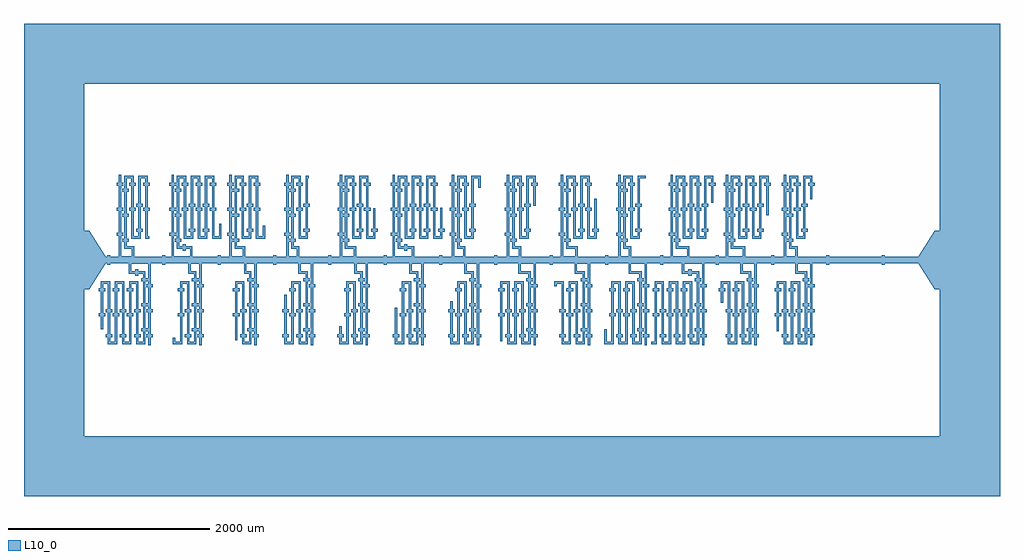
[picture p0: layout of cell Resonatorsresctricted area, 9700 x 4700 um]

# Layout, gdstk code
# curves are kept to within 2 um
import gdstk
lib = gdstk.Library(unit=1e-6, precision=1e-09)
def R(c, l, rs):  # rectangles x0, y0, x1, y1
    for r in rs: c.add(gdstk.rectangle(r[:2], r[2:], *l))
def A(c, l, x, y, w, h, nx, ny, dx, dy):  # array of equal rectangles
    R(c, l, [(x+i*dx, y+j*dy, x+i*dx+w, y+j*dy+h) for i in range(nx) for j in range(ny)])
def P(c, l, *ps):  # polygons
    for p in ps: c.add(gdstk.Polygon(p, *l))
L10_0 = (10, 0)

resonatorsresctricted_ar = lib.new_cell('Resonatorsresctricted area')
A(resonatorsresctricted_ar, L10_0, 1215.263, 1580, 20, 30, 1, 3, 0, 250)
A(resonatorsresctricted_ar, L10_0, 1260.263, 1580, 20, 30, 1, 3, 0, 250)
A(resonatorsresctricted_ar, L10_0, 1721.618, 1580, 20, 30, 1, 3, 0, 250)
A(resonatorsresctricted_ar, L10_0, 1766.618, 1580, 20, 30, 1, 3, 0, 250)
A(resonatorsresctricted_ar, L10_0, 2268.867, 1580, 20, 30, 1, 3, 0, 250)
A(resonatorsresctricted_ar, L10_0, 2313.867, 1580, 20, 30, 1, 3, 0, 250)
A(resonatorsresctricted_ar, L10_0, 2829.35, 1580, 20, 30, 1, 3, 0, 250)
A(resonatorsresctricted_ar, L10_0, 2874.35, 1580, 20, 30, 1, 3, 0, 250)
A(resonatorsresctricted_ar, L10_0, 3373.623, 1580, 20, 30, 1, 3, 0, 250)
A(resonatorsresctricted_ar, L10_0, 3418.623, 1580, 20, 30, 1, 3, 0, 250)
A(resonatorsresctricted_ar, L10_0, 3926.925, 1580, 20, 30, 1, 3, 0, 250)
A(resonatorsresctricted_ar, L10_0, 3971.925, 1580, 20, 30, 1, 3, 0, 250)
A(resonatorsresctricted_ar, L10_0, 4478.113, 1580, 20, 30, 1, 3, 0, 250)
A(resonatorsresctricted_ar, L10_0, 4523.113, 1580, 20, 30, 1, 3, 0, 250)
A(resonatorsresctricted_ar, L10_0, 5043.266, 1580, 20, 30, 1, 3, 0, 250)
A(resonatorsresctricted_ar, L10_0, 5088.266, 1580, 20, 30, 1, 3, 0, 250)
A(resonatorsresctricted_ar, L10_0, 5583.383, 1580, 20, 30, 1, 3, 0, 250)
A(resonatorsresctricted_ar, L10_0, 5628.383, 1580, 20, 30, 1, 3, 0, 250)
A(resonatorsresctricted_ar, L10_0, 6147.254, 1580, 20, 30, 1, 3, 0, 250)
A(resonatorsresctricted_ar, L10_0, 6192.254, 1580, 20, 30, 1, 3, 0, 250)
A(resonatorsresctricted_ar, L10_0, 6718.521, 1580, 20, 30, 1, 3, 0, 250)
A(resonatorsresctricted_ar, L10_0, 6763.521, 1580, 20, 30, 1, 3, 0, 250)
A(resonatorsresctricted_ar, L10_0, 7236.379, 1580, 20, 30, 1, 3, 0, 250)
A(resonatorsresctricted_ar, L10_0, 7281.379, 1580, 20, 30, 1, 3, 0, 250)
A(resonatorsresctricted_ar, L10_0, 7791.418, 1580, 20, 30, 1, 3, 0, 250)
A(resonatorsresctricted_ar, L10_0, 7836.418, 1580, 20, 30, 1, 3, 0, 250)
A(resonatorsresctricted_ar, L10_0, 1163.263, 1640, 20, 30, 1, 3, 0, 250)
A(resonatorsresctricted_ar, L10_0, 1208.263, 1640, 20, 30, 1, 3, 0, 250)
A(resonatorsresctricted_ar, L10_0, 1669.619, 1640, 20, 30, 1, 3, 0, 250)
A(resonatorsresctricted_ar, L10_0, 1714.619, 1640, 20, 30, 1, 3, 0, 250)
A(resonatorsresctricted_ar, L10_0, 2216.867, 1640, 20, 30, 1, 3, 0, 250)
A(resonatorsresctricted_ar, L10_0, 2261.867, 1640, 20, 30, 1, 3, 0, 250)
A(resonatorsresctricted_ar, L10_0, 2777.35, 1640, 20, 30, 1, 3, 0, 250)
A(resonatorsresctricted_ar, L10_0, 2822.35, 1640, 20, 30, 1, 3, 0, 250)
A(resonatorsresctricted_ar, L10_0, 3321.623, 1640, 20, 30, 1, 3, 0, 250)
A(resonatorsresctricted_ar, L10_0, 3366.623, 1640, 20, 30, 1, 3, 0, 250)
A(resonatorsresctricted_ar, L10_0, 3874.924, 1640, 20, 30, 1, 3, 0, 250)
A(resonatorsresctricted_ar, L10_0, 3919.924, 1640, 20, 30, 1, 3, 0, 250)
A(resonatorsresctricted_ar, L10_0, 4426.113, 1640, 20, 30, 1, 3, 0, 250)
A(resonatorsresctricted_ar, L10_0, 4471.113, 1640, 20, 30, 1, 3, 0, 250)
A(resonatorsresctricted_ar, L10_0, 4991.266, 1640, 20, 30, 1, 3, 0, 250)
A(resonatorsresctricted_ar, L10_0, 5036.266, 1640, 20, 30, 1, 3, 0, 250)
A(resonatorsresctricted_ar, L10_0, 5531.384, 1640, 20, 30, 1, 3, 0, 250)
A(resonatorsresctricted_ar, L10_0, 5576.384, 1640, 20, 30, 1, 3, 0, 250)
A(resonatorsresctricted_ar, L10_0, 6095.254, 1640, 20, 30, 1, 3, 0, 250)
A(resonatorsresctricted_ar, L10_0, 6140.254, 1640, 20, 30, 1, 3, 0, 250)
A(resonatorsresctricted_ar, L10_0, 6666.522, 1640, 20, 30, 1, 3, 0, 250)
A(resonatorsresctricted_ar, L10_0, 6711.522, 1640, 20, 30, 1, 3, 0, 250)
A(resonatorsresctricted_ar, L10_0, 7184.378, 1640, 20, 30, 1, 3, 0, 250)
A(resonatorsresctricted_ar, L10_0, 7229.378, 1640, 20, 30, 1, 3, 0, 250)
A(resonatorsresctricted_ar, L10_0, 7739.418, 1640, 20, 30, 1, 3, 0, 250)
A(resonatorsresctricted_ar, L10_0, 7784.418, 1640, 20, 30, 1, 3, 0, 250)
A(resonatorsresctricted_ar, L10_0, 825, 2305, 30, 30, 15, 2, 550, 60)
A(resonatorsresctricted_ar, L10_0, 975.018, 2530, 20, 30, 1, 3, 0, 250)
A(resonatorsresctricted_ar, L10_0, 1020.018, 2530, 20, 30, 1, 3, 0, 250)
A(resonatorsresctricted_ar, L10_0, 1497.662, 2530, 20, 30, 1, 3, 0, 250)
A(resonatorsresctricted_ar, L10_0, 1542.662, 2530, 20, 30, 1, 3, 0, 250)
A(resonatorsresctricted_ar, L10_0, 2072.152, 2530, 20, 30, 1, 3, 0, 250)
A(resonatorsresctricted_ar, L10_0, 2117.152, 2530, 20, 30, 1, 3, 0, 250)
A(resonatorsresctricted_ar, L10_0, 2637.247, 2530, 20, 30, 1, 3, 0, 250)
A(resonatorsresctricted_ar, L10_0, 2682.247, 2530, 20, 30, 1, 3, 0, 250)
A(resonatorsresctricted_ar, L10_0, 3169.02, 2530, 20, 30, 1, 3, 0, 250)
A(resonatorsresctricted_ar, L10_0, 3214.02, 2530, 20, 30, 1, 3, 0, 250)
A(resonatorsresctricted_ar, L10_0, 3694.792, 2530, 20, 30, 1, 3, 0, 250)
A(resonatorsresctricted_ar, L10_0, 3739.792, 2530, 20, 30, 1, 3, 0, 250)
A(resonatorsresctricted_ar, L10_0, 4284.397, 2530, 20, 30, 1, 3, 0, 250)
A(resonatorsresctricted_ar, L10_0, 4329.397, 2530, 20, 30, 1, 3, 0, 250)
A(resonatorsresctricted_ar, L10_0, 4831.218, 2530, 20, 30, 1, 3, 0, 250)
A(resonatorsresctricted_ar, L10_0, 4876.218, 2530, 20, 30, 1, 3, 0, 250)
A(resonatorsresctricted_ar, L10_0, 5367.342, 2530, 20, 30, 1, 3, 0, 250)
A(resonatorsresctricted_ar, L10_0, 5412.342, 2530, 20, 30, 1, 3, 0, 250)
A(resonatorsresctricted_ar, L10_0, 5936.331, 2530, 20, 30, 1, 3, 0, 250)
A(resonatorsresctricted_ar, L10_0, 5981.331, 2530, 20, 30, 1, 3, 0, 250)
A(resonatorsresctricted_ar, L10_0, 6457.591, 2530, 20, 30, 1, 3, 0, 250)
A(resonatorsresctricted_ar, L10_0, 6502.591, 2530, 20, 30, 1, 3, 0, 250)
A(resonatorsresctricted_ar, L10_0, 7005.315, 2530, 20, 30, 1, 3, 0, 250)
A(resonatorsresctricted_ar, L10_0, 7050.315, 2530, 20, 30, 1, 3, 0, 250)
A(resonatorsresctricted_ar, L10_0, 7582.318, 2530, 20, 30, 1, 3, 0, 250)
A(resonatorsresctricted_ar, L10_0, 7627.318, 2530, 20, 30, 1, 3, 0, 250)
A(resonatorsresctricted_ar, L10_0, 923.018, 2590, 20, 30, 1, 3, 0, 250)
A(resonatorsresctricted_ar, L10_0, 968.018, 2590, 20, 30, 1, 3, 0, 250)
A(resonatorsresctricted_ar, L10_0, 1445.663, 2590, 20, 30, 1, 3, 0, 250)
A(resonatorsresctricted_ar, L10_0, 1490.663, 2590, 20, 30, 1, 3, 0, 250)
A(resonatorsresctricted_ar, L10_0, 2020.153, 2590, 20, 30, 1, 3, 0, 250)
A(resonatorsresctricted_ar, L10_0, 2065.153, 2590, 20, 30, 1, 3, 0, 250)
A(resonatorsresctricted_ar, L10_0, 2585.248, 2590, 20, 30, 1, 3, 0, 250)
A(resonatorsresctricted_ar, L10_0, 2630.248, 2590, 20, 30, 1, 3, 0, 250)
A(resonatorsresctricted_ar, L10_0, 3117.02, 2590, 20, 30, 1, 3, 0, 250)
A(resonatorsresctricted_ar, L10_0, 3162.02, 2590, 20, 30, 1, 3, 0, 250)
A(resonatorsresctricted_ar, L10_0, 3642.793, 2590, 20, 30, 1, 3, 0, 250)
A(resonatorsresctricted_ar, L10_0, 3687.793, 2590, 20, 30, 1, 3, 0, 250)
A(resonatorsresctricted_ar, L10_0, 4232.398, 2590, 20, 30, 1, 3, 0, 250)
A(resonatorsresctricted_ar, L10_0, 4277.398, 2590, 20, 30, 1, 3, 0, 250)
A(resonatorsresctricted_ar, L10_0, 4779.219, 2590, 20, 30, 1, 3, 0, 250)
A(resonatorsresctricted_ar, L10_0, 4824.219, 2590, 20, 30, 1, 3, 0, 250)
A(resonatorsresctricted_ar, L10_0, 5315.342, 2590, 20, 30, 1, 3, 0, 250)
A(resonatorsresctricted_ar, L10_0, 5360.342, 2590, 20, 30, 1, 3, 0, 250)
A(resonatorsresctricted_ar, L10_0, 5884.331, 2590, 20, 30, 1, 3, 0, 250)
A(resonatorsresctricted_ar, L10_0, 5929.331, 2590, 20, 30, 1, 3, 0, 250)
A(resonatorsresctricted_ar, L10_0, 6405.59, 2590, 20, 30, 1, 3, 0, 250)
A(resonatorsresctricted_ar, L10_0, 6450.59, 2590, 20, 30, 1, 3, 0, 250)
A(resonatorsresctricted_ar, L10_0, 6953.316, 2590, 20, 30, 1, 3, 0, 250)
A(resonatorsresctricted_ar, L10_0, 6998.316, 2590, 20, 30, 1, 3, 0, 250)
A(resonatorsresctricted_ar, L10_0, 7530.318, 2590, 20, 30, 1, 3, 0, 250)
A(resonatorsresctricted_ar, L10_0, 7575.318, 2590, 20, 30, 1, 3, 0, 250)
R(resonatorsresctricted_ar, L10_0, [(1236.263,1501,1259.263,1525), (1742.619,1501,1765.619,1525), (2289.867,1501,2312.867,1525), (2850.35,1501,2873.35,1525), (3394.623,1501,3417.623,1525), (3947.924,1501,3970.924,1525), (4499.113,1501,4522.113,1525), (5064.266,1501,5087.266,1525), (5604.384,1501,5627.384,1525), (6168.254,1501,6191.254,1525), (6739.522,1501,6762.522,1525), (7257.378,1501,7280.378,1525), (7812.418,1501,7835.418,1525), (813.263,1580,833.263,1610), (858.263,1580,878.263,1610), (953.263,1580,973.263,1610), (998.263,1580,1018.263,1610), (1093.263,1580,1113.263,1610), (1138.263,1580,1158.263,1610), (1599.618,1580,1619.618,1610), (1644.618,1580,1664.618,1610), (2146.867,1580,2166.867,1610), (2191.867,1580,2211.867,1610), (2567.35,1580,2587.35,1610), (2612.35,1580,2632.35,1610), (2707.35,1580,2727.35,1610), (2752.35,1580,2772.35,1610), (3111.623,1580,3131.623,1610), (3156.623,1580,3176.623,1610), (3251.623,1580,3271.623,1610), (3296.623,1580,3316.623,1610), (3664.925,1580,3684.925,1610), (3709.925,1580,3729.925,1610), (3804.925,1580,3824.925,1610), (3849.925,1580,3869.925,1610), (4216.113,1580,4236.113,1610), (4261.113,1580,4281.113,1610), (4356.113,1580,4376.113,1610), (4401.113,1580,4421.113,1610), (4781.266,1580,4801.266,1610), (4826.266,1580,4846.266,1610), (4921.266,1580,4941.266,1610), (4966.266,1580,4986.266,1610), (5321.383,1580,5341.383,1610), (5366.383,1580,5386.383,1610), (5461.383,1580,5481.383,1610), (5506.383,1580,5526.383,1610), (5885.254,1580,5905.254,1610), (5930.254,1580,5950.254,1610), (6025.254,1580,6045.254,1610), (6070.254,1580,6090.254,1610), (6316.521,1580,6336.521,1610), (6361.521,1580,6381.521,1610), (6456.521,1580,6476.521,1610), (6501.521,1580,6521.521,1610), (6596.521,1580,6616.521,1610), (6641.521,1580,6661.521,1610), (6974.379,1580,6994.379,1610), (7019.379,1580,7039.379,1610), (7114.379,1580,7134.379,1610), (7159.379,1580,7179.379,1610), (7529.418,1580,7549.418,1610), (7574.418,1580,7594.418,1610), (7669.418,1580,7689.418,1610), (7714.418,1580,7734.418,1610), (743.263,1790,763.263,1820), (788.263,1790,808.263,1820), (883.263,1790,903.263,1820), (928.263,1790,948.263,1820), (1023.263,1790,1043.263,1820), (1068.263,1790,1088.263,1820), (1529.619,1790,1549.619,1820), (1574.619,1790,1594.619,1820), (2076.867,1790,2096.867,1820), (2121.867,1790,2141.867,1820), (2637.35,1790,2657.35,1820), (2682.35,1790,2702.35,1820), (3181.623,1790,3201.623,1820), (3226.623,1790,3246.623,1820), (3734.924,1790,3754.924,1820), (3779.924,1790,3799.924,1820), (4286.113,1790,4306.113,1820), (4331.113,1790,4351.113,1820), (4711.266,1790,4731.266,1820), (4756.266,1790,4776.266,1820), (4851.266,1790,4871.266,1820), (4896.266,1790,4916.266,1820), (5391.384,1790,5411.384,1820), (5436.384,1790,5456.384,1820), (5815.254,1790,5835.254,1820), (5860.254,1790,5880.254,1820), (5955.254,1790,5975.254,1820), (6000.254,1790,6020.254,1820), (6246.522,1790,6266.522,1820), (6291.522,1790,6311.522,1820), (6386.522,1790,6406.522,1820), (6431.522,1790,6451.522,1820), (6526.522,1790,6546.522,1820), (6571.522,1790,6591.522,1820), (7044.378,1790,7064.378,1820), (7089.378,1790,7109.378,1820), (7459.418,1790,7479.418,1820), (7504.418,1790,7524.418,1820), (7599.418,1790,7619.418,1820), (7644.418,1790,7664.418,1820), (813.263,1830,833.263,1860), (858.263,1830,878.263,1860), (953.263,1830,973.263,1860), (998.263,1830,1018.263,1860), (1093.263,1830,1113.263,1860), (1138.263,1830,1158.263,1860), (1599.618,1830,1619.618,1860), (1644.618,1830,1664.618,1860), (2146.867,1830,2166.867,1860), (2191.867,1830,2211.867,1860), (2567.35,1830,2587.35,1860), (2612.35,1830,2632.35,1860), (2707.35,1830,2727.35,1860), (2752.35,1830,2772.35,1860), (3251.623,1830,3271.623,1860), (3296.623,1830,3316.623,1860), (3804.925,1830,3824.925,1860), (3849.925,1830,3869.925,1860), (4216.113,1830,4236.113,1860), (4261.113,1830,4281.113,1860), (4356.113,1830,4376.113,1860), (4401.113,1830,4421.113,1860), (4781.266,1830,4801.266,1860), (4826.266,1830,4846.266,1860), (4921.266,1830,4941.266,1860), (4966.266,1830,4986.266,1860), (5321.383,1830,5341.383,1860), (5366.383,1830,5386.383,1860), (5461.383,1830,5481.383,1860), (5506.383,1830,5526.383,1860), (5885.254,1830,5905.254,1860), (5930.254,1830,5950.254,1860), (6025.254,1830,6045.254,1860), (6070.254,1830,6090.254,1860), (6316.521,1830,6336.521,1860), (6361.521,1830,6381.521,1860), (6456.521,1830,6476.521,1860), (6501.521,1830,6521.521,1860), (6596.521,1830,6616.521,1860), (6641.521,1830,6661.521,1860), (6974.379,1830,6994.379,1860), (7019.379,1830,7039.379,1860), (7114.379,1830,7134.379,1860), (7159.379,1830,7179.379,1860), (7529.418,1830,7549.418,1860), (7574.418,1830,7594.418,1860), (7669.418,1830,7689.418,1860), (7714.418,1830,7734.418,1860), (743.263,2040,763.263,2070), (788.263,2040,808.263,2070), (883.263,2040,903.263,2070), (928.263,2040,948.263,2070), (1023.263,2040,1043.263,2070), (1068.263,2040,1088.263,2070), (1529.619,2040,1549.619,2070), (1574.619,2040,1594.619,2070), (2076.867,2040,2096.867,2070), (2121.867,2040,2141.867,2070), (2637.35,2040,2657.35,2070), (2682.35,2040,2702.35,2070), (3181.623,2040,3201.623,2070), (3226.623,2040,3246.623,2070), (3734.924,2040,3754.924,2070), (3779.924,2040,3799.924,2070), (4286.113,2040,4306.113,2070), (4331.113,2040,4351.113,2070), (4711.266,2040,4731.266,2070), (4756.266,2040,4776.266,2070), (4851.266,2040,4871.266,2070), (4896.266,2040,4916.266,2070), (5391.384,2040,5411.384,2070), (5436.384,2040,5456.384,2070), (5815.254,2040,5835.254,2070), (5860.254,2040,5880.254,2070), (5955.254,2040,5975.254,2070), (6000.254,2040,6020.254,2070), (6246.522,2040,6266.522,2070), (6291.522,2040,6311.522,2070), (6386.522,2040,6406.522,2070), (6431.522,2040,6451.522,2070), (6526.522,2040,6546.522,2070), (6571.522,2040,6591.522,2070), (6904.378,2040,6924.378,2070), (6949.378,2040,6969.378,2070), (7044.378,2040,7064.378,2070), (7089.378,2040,7109.378,2070), (7459.418,2040,7479.418,2070), (7504.418,2040,7524.418,2070), (7599.418,2040,7619.418,2070), (7644.418,2040,7664.418,2070), (1107.237,2192.5,1137.237,2212.5), (6603.978,2192.5,6633.978,2212.5), (1107.237,2237.5,1137.237,2257.5), (6603.978,2237.5,6633.978,2257.5), (810,2318.5,8890,2381.5), (1576.838,2442.5,1606.838,2462.5), (3779.708,2442.5,3809.708,2462.5), (1576.838,2487.5,1606.838,2507.5), (3779.708,2487.5,3809.708,2507.5), (1115.018,2630,1135.018,2660), (1160.018,2630,1180.018,2660), (1637.662,2630,1657.662,2660), (1682.662,2630,1702.662,2660), (1777.662,2630,1797.662,2660), (1822.662,2630,1842.662,2660), (2212.152,2630,2232.152,2660), (2257.152,2630,2277.152,2660), (2777.247,2630,2797.247,2660), (2822.247,2630,2842.247,2660), (3309.02,2630,3329.02,2660), (3354.02,2630,3374.02,2660), (3449.02,2630,3469.02,2660), (3494.02,2630,3514.02,2660), (3834.792,2630,3854.792,2660), (3879.792,2630,3899.792,2660), (3974.792,2630,3994.792,2660), (4019.792,2630,4039.792,2660), (4114.792,2630,4134.792,2660), (4159.792,2630,4179.792,2660), (4424.397,2630,4444.397,2660), (4469.397,2630,4489.397,2660), (4971.218,2630,4991.218,2660), (5016.218,2630,5036.218,2660), (5507.342,2630,5527.342,2660), (5552.342,2630,5572.342,2660), (5647.342,2630,5667.342,2660), (5692.342,2630,5712.342,2660), (6076.331,2630,6096.331,2660), (6121.331,2630,6141.331,2660), (6597.591,2630,6617.591,2660), (6642.591,2630,6662.591,2660), (6737.591,2630,6757.591,2660), (6782.591,2630,6802.591,2660), (7145.315,2630,7165.315,2660), (7190.315,2630,7210.315,2660), (7285.315,2630,7305.315,2660), (7330.315,2630,7350.315,2660), (7722.318,2630,7742.318,2660), (7767.318,2630,7787.318,2660), (1045.018,2840,1065.018,2870), (1090.018,2840,1110.018,2870), (1185.018,2840,1205.018,2870), (1230.018,2840,1250.018,2870), (1567.663,2840,1587.663,2870), (1612.663,2840,1632.663,2870), (1707.663,2840,1727.663,2870), (1752.663,2840,1772.663,2870), (1847.663,2840,1867.663,2870), (1892.663,2840,1912.663,2870), (2142.153,2840,2162.153,2870), (2187.153,2840,2207.153,2870), (2282.153,2840,2302.153,2870), (2327.153,2840,2347.153,2870), (2707.248,2840,2727.248,2870), (2752.248,2840,2772.248,2870), (3239.02,2840,3259.02,2870), (3284.02,2840,3304.02,2870), (3379.02,2840,3399.02,2870), (3424.02,2840,3444.02,2870), (3764.793,2840,3784.793,2870), (3809.793,2840,3829.793,2870), (3904.793,2840,3924.793,2870), (3949.793,2840,3969.793,2870), (4044.793,2840,4064.793,2870), (4089.793,2840,4109.793,2870), (4354.398,2840,4374.398,2870), (4399.398,2840,4419.398,2870), (4901.219,2840,4921.219,2870), (4946.219,2840,4966.219,2870), (5437.342,2840,5457.342,2870), (5482.342,2840,5502.342,2870), (5577.342,2840,5597.342,2870), (5622.342,2840,5642.342,2870), (6006.331,2840,6026.331,2870), (6051.331,2840,6071.331,2870), (6527.59,2840,6547.59,2870), (6572.59,2840,6592.59,2870), (6667.59,2840,6687.59,2870), (6712.59,2840,6732.59,2870), (7075.316,2840,7095.316,2870), (7120.316,2840,7140.316,2870), (7215.316,2840,7235.316,2870), (7260.316,2840,7280.316,2870), (7652.318,2840,7672.318,2870), (7697.318,2840,7717.318,2870), (1115.018,2880,1135.018,2910), (1160.018,2880,1180.018,2910), (1637.662,2880,1657.662,2910), (1682.662,2880,1702.662,2910), (1777.662,2880,1797.662,2910), (1822.662,2880,1842.662,2910), (2212.152,2880,2232.152,2910), (2257.152,2880,2277.152,2910), (2777.247,2880,2797.247,2910), (2822.247,2880,2842.247,2910), (3309.02,2880,3329.02,2910), (3354.02,2880,3374.02,2910), (3834.792,2880,3854.792,2910), (3879.792,2880,3899.792,2910), (3974.792,2880,3994.792,2910), (4019.792,2880,4039.792,2910), (4424.397,2880,4444.397,2910), (4469.397,2880,4489.397,2910), (4971.218,2880,4991.218,2910), (5016.218,2880,5036.218,2910), (5507.342,2880,5527.342,2910), (5552.342,2880,5572.342,2910), (6076.331,2880,6096.331,2910), (6121.331,2880,6141.331,2910), (6597.591,2880,6617.591,2910), (6642.591,2880,6662.591,2910), (6737.591,2880,6757.591,2910), (6782.591,2880,6802.591,2910), (7145.315,2880,7165.315,2910), (7190.315,2880,7210.315,2910), (7285.315,2880,7305.315,2910), (7330.315,2880,7350.315,2910), (7722.318,2880,7742.318,2910), (7767.318,2880,7787.318,2910), (1045.018,3090,1065.018,3120), (1090.018,3090,1110.018,3120), (1185.018,3090,1205.018,3120), (1230.018,3090,1250.018,3120), (1567.663,3090,1587.663,3120), (1612.663,3090,1632.663,3120), (1707.663,3090,1727.663,3120), (1752.663,3090,1772.663,3120), (1847.663,3090,1867.663,3120), (1892.663,3090,1912.663,3120), (2142.153,3090,2162.153,3120), (2187.153,3090,2207.153,3120), (2282.153,3090,2302.153,3120), (2327.153,3090,2347.153,3120), (2707.248,3090,2727.248,3120), (2752.248,3090,2772.248,3120), (3239.02,3090,3259.02,3120), (3284.02,3090,3304.02,3120), (3379.02,3090,3399.02,3120), (3424.02,3090,3444.02,3120), (3764.793,3090,3784.793,3120), (3809.793,3090,3829.793,3120), (3904.793,3090,3924.793,3120), (3949.793,3090,3969.793,3120), (4044.793,3090,4064.793,3120), (4089.793,3090,4109.793,3120), (4354.398,3090,4374.398,3120), (4399.398,3090,4419.398,3120), (4901.219,3090,4921.219,3120), (4946.219,3090,4966.219,3120), (5041.219,3090,5061.219,3120), (5086.219,3090,5106.219,3120), (5437.342,3090,5457.342,3120), (5482.342,3090,5502.342,3120), (5577.342,3090,5597.342,3120), (5622.342,3090,5642.342,3120), (6006.331,3090,6026.331,3120), (6051.331,3090,6071.331,3120), (6527.59,3090,6547.59,3120), (6572.59,3090,6592.59,3120), (6667.59,3090,6687.59,3120), (6712.59,3090,6732.59,3120), (6807.59,3090,6827.59,3120), (6852.59,3090,6872.59,3120), (7075.316,3090,7095.316,3120), (7120.316,3090,7140.316,3120), (7215.316,3090,7235.316,3120), (7260.316,3090,7280.316,3120), (7355.316,3090,7375.316,3120), (7400.316,3090,7420.316,3120), (7652.318,3090,7672.318,3120), (7697.318,3090,7717.318,3120), (7792.318,3090,7812.318,3120), (7837.318,3090,7857.318,3120), (944.018,3175,967.018,3199), (1466.662,3175,1489.662,3199), (2041.152,3175,2064.152,3199), (2606.247,3175,2629.247,3199), (3138.02,3175,3161.02,3199), (3663.792,3175,3686.792,3199), (4253.397,3175,4276.397,3199), (4800.218,3175,4823.218,3199), (5336.342,3175,5359.342,3199), (5905.331,3175,5928.331,3199), (6426.591,3175,6449.591,3199), (6974.315,3175,6997.315,3199), (7551.318,3175,7574.318,3199)])
P(resonatorsresctricted_ar, L10_0, [(9700,0),(9700,4700),(0,4700),(0,600),(600,600),(600,2059),(650,2059),(810,2318.5),(810,2381.5),(650,2641),(600,2641),(600,4100),(9100,4100),(9100,2641),(9050,2641),(8890,2381.5),(8890,2318.5),(9050,2059),(9100,2059),(9100,600),(0,600),(0,0)],
  [(927.263,2113.5),(974.263,2113.5),(974.263,1513.5),(1067.263,1513.5),(1067.263,2113.5),(1114.263,2113.5),(1114.263,1513.5),(1207.263,1513.5),(1207.263,2236.5),(1063.737,2236.5),(1063.737,2313.5),(1236.263,2313.5),(1236.263,1525),(1259.263,1525),(1259.263,2336.5),(1040.737,2336.5),(1040.737,2213.5),(1184.263,2213.5),(1184.263,1536.5),(1137.263,1536.5),(1137.263,2136.5),(1044.263,2136.5),(1044.263,1536.5),(997.263,1536.5),(997.263,2136.5),(904.263,2136.5),(904.263,1536.5),(857.263,1536.5),(857.263,2136.5),(764.263,2136.5),(764.263,1660),(787.263,1660),(787.263,2113.5),(834.263,2113.5),(834.263,1513.5),(927.263,1513.5)],
  [(1136.018,2586.5),(1089.018,2586.5),(1089.018,3186.5),(996.018,3186.5),(996.018,2463.5),(1072.982,2463.5),(1072.982,2386.5),(967.018,2386.5),(967.018,3175),(944.018,3175),(944.018,2363.5),(1095.982,2363.5),(1095.982,2486.5),(1019.018,2486.5),(1019.018,3163.5),(1066.018,3163.5),(1066.018,2563.5),(1159.018,2563.5),(1159.018,3163.5),(1206.018,3163.5),(1206.018,2563.5),(1245.518,2563.5),(1245.518,2586.5),(1229.018,2586.5),(1229.018,3186.5),(1136.018,3186.5)],
  [(1573.619,2113.5),(1620.619,2113.5),(1620.619,1513.5),(1713.619,1513.5),(1713.619,2236.5),(1657.381,2236.5),(1657.381,2313.5),(1742.619,2313.5),(1742.619,1525),(1765.619,1525),(1765.619,2336.5),(1634.381,2336.5),(1634.381,2213.5),(1690.619,2213.5),(1690.619,1536.5),(1643.619,1536.5),(1643.619,2136.5),(1550.619,2136.5),(1550.619,1536.5),(1503.619,1536.5),(1503.619,1579),(1480.619,1579),(1480.619,1513.5),(1573.619,1513.5)],
  [(1798.662,2586.5),(1751.662,2586.5),(1751.662,3186.5),(1658.662,3186.5),(1658.662,2586.5),(1611.662,2586.5),(1611.662,3186.5),(1518.662,3186.5),(1518.662,2463.5),(1650.338,2463.5),(1650.338,2386.5),(1489.662,2386.5),(1489.662,3175),(1466.662,3175),(1466.662,2363.5),(1673.338,2363.5),(1673.338,2486.5),(1541.662,2486.5),(1541.662,3163.5),(1588.662,3163.5),(1588.662,2563.5),(1681.662,2563.5),(1681.662,3163.5),(1728.662,3163.5),(1728.662,2563.5),(1821.662,2563.5),(1821.662,3163.5),(1868.662,3163.5),(1868.662,2563.5),(1961.662,2563.5),(1961.662,2711),(1938.662,2711),(1938.662,2586.5),(1891.662,2586.5),(1891.662,3186.5),(1798.662,3186.5)],
  [(2260.867,2236.5),(2210.133,2236.5),(2210.133,2313.5),(2289.867,2313.5),(2289.867,1525),(2312.867,1525),(2312.867,2336.5),(2187.133,2336.5),(2187.133,2213.5),(2237.867,2213.5),(2237.867,1536.5),(2190.867,1536.5),(2190.867,2136.5),(2097.867,2136.5),(2097.867,1554),(2120.867,1554),(2120.867,2113.5),(2167.867,2113.5),(2167.867,1513.5),(2260.867,1513.5)],
  [(2233.152,2586.5),(2186.152,2586.5),(2186.152,3186.5),(2093.152,3186.5),(2093.152,2463.5),(2175.848,2463.5),(2175.848,2386.5),(2064.152,2386.5),(2064.152,3175),(2041.152,3175),(2041.152,2363.5),(2198.848,2363.5),(2198.848,2486.5),(2116.152,2486.5),(2116.152,3163.5),(2163.152,3163.5),(2163.152,2563.5),(2256.152,2563.5),(2256.152,3163.5),(2303.152,3163.5),(2303.152,2563.5),(2396.152,2563.5),(2396.152,2692),(2373.152,2692),(2373.152,2586.5),(2326.152,2586.5),(2326.152,3186.5),(2233.152,3186.5)],
  [(2681.35,2113.5),(2728.35,2113.5),(2728.35,1513.5),(2821.35,1513.5),(2821.35,2236.5),(2749.65,2236.5),(2749.65,2313.5),(2850.35,2313.5),(2850.35,1525),(2873.35,1525),(2873.35,2336.5),(2726.65,2336.5),(2726.65,2213.5),(2798.35,2213.5),(2798.35,1536.5),(2751.35,1536.5),(2751.35,2136.5),(2658.35,2136.5),(2658.35,1536.5),(2611.35,1536.5),(2611.35,2007),(2588.35,2007),(2588.35,1513.5),(2681.35,1513.5)],
  [(2798.247,2586.5),(2751.247,2586.5),(2751.247,3186.5),(2658.247,3186.5),(2658.247,2463.5),(2710.753,2463.5),(2710.753,2386.5),(2629.247,2386.5),(2629.247,3175),(2606.247,3175),(2606.247,2363.5),(2733.753,2363.5),(2733.753,2486.5),(2681.247,2486.5),(2681.247,3163.5),(2728.247,3163.5),(2728.247,2563.5),(2821.247,2563.5),(2821.247,3163.5),(2829.747,3163.5),(2829.747,3186.5),(2798.247,3186.5)],
  [(3225.623,2113.5),(3272.623,2113.5),(3272.623,1513.5),(3365.623,1513.5),(3365.623,2236.5),(3305.377,2236.5),(3305.377,2313.5),(3394.623,2313.5),(3394.623,1525),(3417.623,1525),(3417.623,2336.5),(3282.377,2336.5),(3282.377,2213.5),(3342.623,2213.5),(3342.623,1536.5),(3295.623,1536.5),(3295.623,2136.5),(3202.623,2136.5),(3202.623,1536.5),(3155.623,1536.5),(3155.623,1690),(3132.623,1690),(3132.623,1513.5),(3225.623,1513.5)],
  [(3330.02,2586.5),(3283.02,2586.5),(3283.02,3186.5),(3190.02,3186.5),(3190.02,2463.5),(3278.98,2463.5),(3278.98,2386.5),(3161.02,2386.5),(3161.02,3175),(3138.02,3175),(3138.02,2363.5),(3301.98,2363.5),(3301.98,2486.5),(3213.02,2486.5),(3213.02,3163.5),(3260.02,3163.5),(3260.02,2563.5),(3353.02,2563.5),(3353.02,3163.5),(3400.02,3163.5),(3400.02,2563.5),(3493.02,2563.5),(3493.02,2866),(3470.02,2866),(3470.02,2586.5),(3423.02,2586.5),(3423.02,3186.5),(3330.02,3186.5)],
  [(3778.924,2113.5),(3825.924,2113.5),(3825.924,1513.5),(3918.924,1513.5),(3918.924,2236.5),(3852.076,2236.5),(3852.076,2313.5),(3947.924,2313.5),(3947.924,1525),(3970.924,1525),(3970.924,2336.5),(3829.076,2336.5),(3829.076,2213.5),(3895.924,2213.5),(3895.924,1536.5),(3848.924,1536.5),(3848.924,2136.5),(3755.924,2136.5),(3755.924,1536.5),(3708.924,1536.5),(3708.924,1873),(3685.924,1873),(3685.924,1513.5),(3778.924,1513.5)],
  [(3995.792,2586.5),(3948.792,2586.5),(3948.792,3186.5),(3855.792,3186.5),(3855.792,2586.5),(3808.792,2586.5),(3808.792,3186.5),(3715.792,3186.5),(3715.792,2463.5),(3853.208,2463.5),(3853.208,2386.5),(3686.792,2386.5),(3686.792,3175),(3663.792,3175),(3663.792,2363.5),(3876.208,2363.5),(3876.208,2486.5),(3738.792,2486.5),(3738.792,3163.5),(3785.792,3163.5),(3785.792,2563.5),(3878.792,2563.5),(3878.792,3163.5),(3925.792,3163.5),(3925.792,2563.5),(4018.792,2563.5),(4018.792,3163.5),(4065.792,3163.5),(4065.792,2563.5),(4158.792,2563.5),(4158.792,2870),(4135.792,2870),(4135.792,2586.5),(4088.792,2586.5),(4088.792,3186.5),(3995.792,3186.5)],
  [(4330.113,2113.5),(4377.113,2113.5),(4377.113,1513.5),(4470.113,1513.5),(4470.113,2236.5),(4400.887,2236.5),(4400.887,2313.5),(4499.113,2313.5),(4499.113,1525),(4522.113,1525),(4522.113,2336.5),(4377.887,2336.5),(4377.887,2213.5),(4447.113,2213.5),(4447.113,1536.5),(4400.113,1536.5),(4400.113,2136.5),(4307.113,2136.5),(4307.113,1536.5),(4260.113,1536.5),(4260.113,1939),(4237.113,1939),(4237.113,1513.5),(4330.113,1513.5)],
  [(4445.397,2586.5),(4398.397,2586.5),(4398.397,3186.5),(4305.397,3186.5),(4305.397,2463.5),(4363.603,2463.5),(4363.603,2386.5),(4276.397,2386.5),(4276.397,3175),(4253.397,3175),(4253.397,2363.5),(4386.603,2363.5),(4386.603,2486.5),(4328.397,2486.5),(4328.397,3163.5),(4375.397,3163.5),(4375.397,2563.5),(4468.397,2563.5),(4468.397,3163.5),(4515.397,3163.5),(4515.397,3067),(4538.397,3067),(4538.397,3186.5),(4445.397,3186.5)],
  [(4895.266,2113.5),(4942.266,2113.5),(4942.266,1513.5),(5035.266,1513.5),(5035.266,2236.5),(4935.734,2236.5),(4935.734,2313.5),(5064.266,2313.5),(5064.266,1525),(5087.266,1525),(5087.266,2336.5),(4912.734,2336.5),(4912.734,2213.5),(5012.266,2213.5),(5012.266,1536.5),(4965.266,1536.5),(4965.266,2136.5),(4872.266,2136.5),(4872.266,1536.5),(4825.266,1536.5),(4825.266,2136.5),(4732.266,2136.5),(4732.266,1541),(4755.266,1541),(4755.266,2113.5),(4802.266,2113.5),(4802.266,1513.5),(4895.266,1513.5)],
  [(4992.218,2586.5),(4945.218,2586.5),(4945.218,3186.5),(4852.218,3186.5),(4852.218,2463.5),(4916.782,2463.5),(4916.782,2386.5),(4823.218,2386.5),(4823.218,3175),(4800.218,3175),(4800.218,2363.5),(4939.782,2363.5),(4939.782,2486.5),(4875.218,2486.5),(4875.218,3163.5),(4922.218,3163.5),(4922.218,2563.5),(5015.218,2563.5),(5015.218,3163.5),(5062.218,3163.5),(5062.218,2891),(5085.218,2891),(5085.218,3186.5),(4992.218,3186.5)],
  [(5435.384,2113.5),(5482.384,2113.5),(5482.384,1513.5),(5575.384,1513.5),(5575.384,2236.5),(5495.616,2236.5),(5495.616,2313.5),(5604.384,2313.5),(5604.384,1525),(5627.384,1525),(5627.384,2336.5),(5472.616,2336.5),(5472.616,2213.5),(5552.384,2213.5),(5552.384,1536.5),(5505.384,1536.5),(5505.384,2136.5),(5412.384,2136.5),(5412.384,1536.5),(5365.384,1536.5),(5365.384,2136.5),(5272.384,2136.5),(5272.384,2089),(5295.384,2089),(5295.384,2113.5),(5342.384,2113.5),(5342.384,1513.5),(5435.384,1513.5)],
  [(5528.342,2586.5),(5481.342,2586.5),(5481.342,3186.5),(5388.342,3186.5),(5388.342,2463.5),(5480.658,2463.5),(5480.658,2386.5),(5359.342,2386.5),(5359.342,3175),(5336.342,3175),(5336.342,2363.5),(5503.658,2363.5),(5503.658,2486.5),(5411.342,2486.5),(5411.342,3163.5),(5458.342,3163.5),(5458.342,2563.5),(5551.342,2563.5),(5551.342,3163.5),(5598.342,3163.5),(5598.342,2563.5),(5691.342,2563.5),(5691.342,2959),(5668.342,2959),(5668.342,2586.5),(5621.342,2586.5),(5621.342,3186.5),(5528.342,3186.5)],
  [(5859.254,2113.5),(5906.254,2113.5),(5906.254,1513.5),(5999.254,1513.5),(5999.254,2113.5),(6046.254,2113.5),(6046.254,1513.5),(6139.254,1513.5),(6139.254,2236.5),(6031.746,2236.5),(6031.746,2313.5),(6168.254,2313.5),(6168.254,1525),(6191.254,1525),(6191.254,2336.5),(6008.746,2336.5),(6008.746,2213.5),(6116.254,2213.5),(6116.254,1536.5),(6069.254,1536.5),(6069.254,2136.5),(5976.254,2136.5),(5976.254,1536.5),(5929.254,1536.5),(5929.254,2136.5),(5836.254,2136.5),(5836.254,1536.5),(5789.254,1536.5),(5789.254,1661),(5766.254,1661),(5766.254,1513.5),(5859.254,1513.5)],
  [(6097.331,2586.5),(6050.331,2586.5),(6050.331,3186.5),(5957.331,3186.5),(5957.331,2463.5),(6011.669,2463.5),(6011.669,2386.5),(5928.331,2386.5),(5928.331,3175),(5905.331,3175),(5905.331,2363.5),(6034.669,2363.5),(6034.669,2486.5),(5980.331,2486.5),(5980.331,3163.5),(6027.331,3163.5),(6027.331,2563.5),(6120.331,2563.5),(6120.331,3163.5),(6179.831,3163.5),(6179.831,3186.5),(6097.331,3186.5)],
  [(6290.522,2113.5),(6337.522,2113.5),(6337.522,1513.5),(6430.522,1513.5),(6430.522,2113.5),(6477.522,2113.5),(6477.522,1513.5),(6570.522,1513.5),(6570.522,2113.5),(6617.522,2113.5),(6617.522,1513.5),(6710.522,1513.5),(6710.522,2236.5),(6560.478,2236.5),(6560.478,2313.5),(6739.522,2313.5),(6739.522,1525),(6762.522,1525),(6762.522,2336.5),(6537.478,2336.5),(6537.478,2213.5),(6687.522,2213.5),(6687.522,1536.5),(6640.522,1536.5),(6640.522,2136.5),(6547.522,2136.5),(6547.522,1536.5),(6500.522,1536.5),(6500.522,2136.5),(6407.522,2136.5),(6407.522,1536.5),(6360.522,1536.5),(6360.522,2136.5),(6267.522,2136.5),(6267.522,1536.5),(6234.022,1536.5),(6234.022,1513.5),(6290.522,1513.5)],
  [(6758.591,2586.5),(6711.591,2586.5),(6711.591,3186.5),(6618.591,3186.5),(6618.591,2586.5),(6571.591,2586.5),(6571.591,3186.5),(6478.591,3186.5),(6478.591,2463.5),(6590.409,2463.5),(6590.409,2386.5),(6449.591,2386.5),(6449.591,3175),(6426.591,3175),(6426.591,2363.5),(6613.409,2363.5),(6613.409,2486.5),(6501.591,2486.5),(6501.591,3163.5),(6548.591,3163.5),(6548.591,2563.5),(6641.591,2563.5),(6641.591,3163.5),(6688.591,3163.5),(6688.591,2563.5),(6781.591,2563.5),(6781.591,3163.5),(6828.591,3163.5),(6828.591,2920),(6851.591,2920),(6851.591,3186.5),(6758.591,3186.5)],
  [(7088.378,2113.5),(7135.378,2113.5),(7135.378,1513.5),(7228.378,1513.5),(7228.378,2236.5),(7142.622,2236.5),(7142.622,2313.5),(7257.378,2313.5),(7257.378,1525),(7280.378,1525),(7280.378,2336.5),(7119.622,2336.5),(7119.622,2213.5),(7205.378,2213.5),(7205.378,1536.5),(7158.378,1536.5),(7158.378,2136.5),(7065.378,2136.5),(7065.378,1536.5),(7018.378,1536.5),(7018.378,2136.5),(6925.378,2136.5),(6925.378,1923),(6948.378,1923),(6948.378,2113.5),(6995.378,2113.5),(6995.378,1513.5),(7088.378,1513.5)],
  [(7306.315,2586.5),(7259.315,2586.5),(7259.315,3186.5),(7166.315,3186.5),(7166.315,2586.5),(7119.315,2586.5),(7119.315,3186.5),(7026.315,3186.5),(7026.315,2463.5),(7142.685,2463.5),(7142.685,2386.5),(6997.315,2386.5),(6997.315,3175),(6974.315,3175),(6974.315,2363.5),(7165.685,2363.5),(7165.685,2486.5),(7049.315,2486.5),(7049.315,3163.5),(7096.315,3163.5),(7096.315,2563.5),(7189.315,2563.5),(7189.315,3163.5),(7236.315,3163.5),(7236.315,2563.5),(7329.315,2563.5),(7329.315,3163.5),(7376.315,3163.5),(7376.315,2794),(7399.315,2794),(7399.315,3186.5),(7306.315,3186.5)],
  [(7643.418,2113.5),(7690.418,2113.5),(7690.418,1513.5),(7783.418,1513.5),(7783.418,2236.5),(7687.582,2236.5),(7687.582,2313.5),(7812.418,2313.5),(7812.418,1525),(7835.418,1525),(7835.418,2336.5),(7664.582,2336.5),(7664.582,2213.5),(7760.418,2213.5),(7760.418,1536.5),(7713.418,1536.5),(7713.418,2136.5),(7620.418,2136.5),(7620.418,1536.5),(7573.418,1536.5),(7573.418,2136.5),(7480.418,2136.5),(7480.418,1643),(7503.418,1643),(7503.418,2113.5),(7550.418,2113.5),(7550.418,1513.5),(7643.418,1513.5)],
  [(7743.318,2586.5),(7696.318,2586.5),(7696.318,3186.5),(7603.318,3186.5),(7603.318,2463.5),(7665.682,2463.5),(7665.682,2386.5),(7574.318,2386.5),(7574.318,3175),(7551.318,3175),(7551.318,2363.5),(7688.682,2363.5),(7688.682,2486.5),(7626.318,2486.5),(7626.318,3163.5),(7673.318,3163.5),(7673.318,2563.5),(7766.318,2563.5),(7766.318,3163.5),(7813.318,3163.5),(7813.318,2952),(7836.318,2952),(7836.318,3186.5),(7743.318,3186.5)])

lib.write_gds('Resonatorsresctricted_area.gds')
